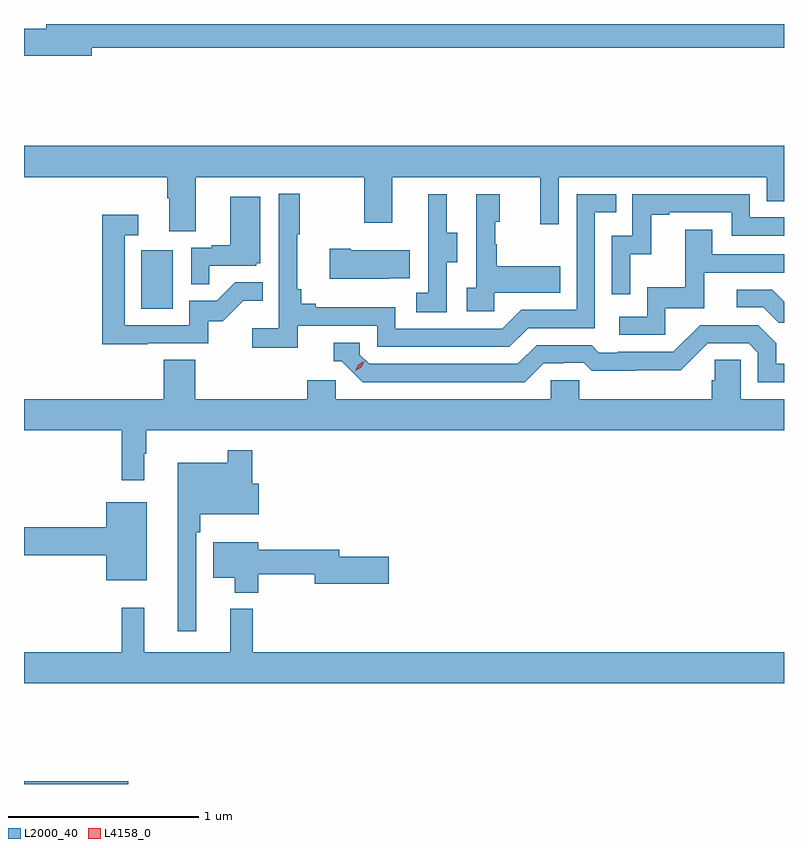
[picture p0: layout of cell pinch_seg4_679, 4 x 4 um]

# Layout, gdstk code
import gdstk
lib = gdstk.Library(unit=1e-6, precision=1e-09)
def R(c, l, rs):  # rectangles x0, y0, x1, y1
    for r in rs: c.add(gdstk.rectangle(r[:2], r[2:], *l))
def P(c, l, *ps):  # polygons
    for p in ps: c.add(gdstk.Polygon(p, *l))
L2000_40 = (2000, 40)
L4158_0 = (4158, 0)

pinch_seg4_679 = lib.new_cell('pinch_seg4_679')
R(pinch_seg4_679, L2000_40, [(1112.864,765.654,1113.412,765.668), (1113.482,768.156,1113.646,768.463)])
P(pinch_seg4_679, L2000_40, [(1113.22,769.528),(1116.864,769.528),(1116.864,769.654),(1112.981,769.654),(1112.981,769.628),(1112.864,769.628),(1112.864,769.486),(1113.22,769.486)],
  [(1113.769,768.848),(1114.654,768.848),(1114.654,768.609),(1114.801,768.609),(1114.801,768.848),(1115.582,768.848),(1115.582,768.6),(1115.679,768.6),(1115.679,768.848),(1116.774,768.848),(1116.774,768.721),(1116.864,768.721),(1116.864,769.012),(1112.864,769.012),(1112.864,768.848),(1113.617,768.848),(1113.617,768.736),(1113.629,768.736),(1113.629,768.562),(1113.769,768.562)],
  [(1114.304,768.066),(1114.722,768.066),(1114.722,767.955),(1115.419,767.955),(1115.518,768.054),(1115.868,768.054),(1115.868,768.663),(1115.981,768.663),(1115.981,768.759),(1115.772,768.759),(1115.772,768.15),(1115.481,768.15),(1115.382,768.051),(1114.818,768.051),(1114.818,768.163),(1114.399,768.163),(1114.399,768.182),(1114.322,768.182),(1114.322,768.259),(1114.303,768.259),(1114.303,768.547),(1114.315,768.547),(1114.315,768.76),(1114.206,768.76),(1114.206,768.052),(1114.065,768.052),(1114.065,767.95),(1114.304,767.95)],
  [(1116.054,768.443),(1116.164,768.443),(1116.164,768.651),(1116.259,768.651),(1116.259,768.663),(1116.588,768.663),(1116.588,768.54),(1116.864,768.54),(1116.864,768.636),(1116.684,768.636),(1116.684,768.759),(1116.066,768.759),(1116.066,768.54),(1115.958,768.54),(1115.958,768.231),(1116.054,768.231)],
  [(1115.34,768.239),(1115.687,768.239),(1115.687,768.379),(1115.353,768.379),(1115.353,768.494),(1115.343,768.494),(1115.343,768.612),(1115.368,768.612),(1115.368,768.757),(1115.244,768.757),(1115.244,768.266),(1115.193,768.266),(1115.193,768.141),(1115.34,768.141)],
  [(1115.088,768.4),(1115.143,768.4),(1115.143,768.555),(1115.089,768.555),(1115.089,768.757),(1114.991,768.757),(1114.991,768.543),(1114.992,768.543),(1114.992,768.239),(1114.929,768.239),(1114.929,768.136),(1115.088,768.136)],
  [(1113.839,768.381),(1114.086,768.381),(1114.086,768.396),(1114.108,768.396),(1114.108,768.745),(1113.95,768.745),(1113.95,768.49),(1113.851,768.49),(1113.851,768.477),(1113.744,768.477),(1113.744,768.283),(1113.839,768.283)],
  [(1113.515,767.973),(1113.834,767.973),(1113.834,768.09),(1113.91,768.09),(1114.017,768.197),(1114.121,768.197),(1114.121,768.296),(1113.977,768.296),(1113.879,768.198),(1113.735,768.198),(1113.735,768.069),(1113.393,768.069),(1113.393,768.543),(1113.466,768.543),(1113.466,768.649),(1113.277,768.649),(1113.277,767.968),(1113.515,767.968)],
  [(1116.24,768.159),(1116.445,768.159),(1116.445,768.345),(1116.864,768.345),(1116.864,768.441),(1116.487,768.441),(1116.487,768.571),(1116.343,768.571),(1116.343,768.268),(1116.144,768.268),(1116.144,768.114),(1115.997,768.114),(1115.997,768.018),(1116.24,768.018)],
  [(1114.787,768.317),(1114.895,768.317),(1114.895,768.463),(1114.585,768.463),(1114.585,768.471),(1114.473,768.471),(1114.473,768.314),(1114.787,768.314)],
  [(1116.864,768.193),(1116.802,768.255),(1116.615,768.255),(1116.615,768.162),(1116.756,768.162),(1116.836,768.082),(1116.864,768.082)],
  [(1115.599,767.868),(1115.706,767.868),(1115.706,767.871),(1115.809,767.871),(1115.851,767.829),(1116.084,767.829),(1116.084,767.831),(1116.32,767.831),(1116.462,767.973),(1116.678,767.973),(1116.726,767.925),(1116.726,767.769),(1116.864,767.769),(1116.864,767.865),(1116.823,767.865),(1116.823,767.975),(1116.729,768.069),(1116.423,768.069),(1116.282,767.928),(1115.989,767.928),(1115.989,767.925),(1115.89,767.925),(1115.851,767.964),(1115.562,767.964),(1115.463,767.865),(1114.68,767.865),(1114.632,767.913),(1114.632,767.976),(1114.493,767.976),(1114.493,767.88),(1114.536,767.88),(1114.647,767.769),(1115.5,767.769)],
  [(1113.496,767.393),(1113.508,767.393),(1113.508,767.516),(1116.864,767.516),(1116.864,767.68),(1116.636,767.68),(1116.636,767.888),(1116.499,767.888),(1116.499,767.778),(1116.485,767.778),(1116.485,767.68),(1115.787,767.68),(1115.787,767.778),(1115.637,767.778),(1115.637,767.68),(1114.506,767.68),(1114.506,767.778),(1114.355,767.778),(1114.355,767.68),(1113.764,767.68),(1113.764,767.888),(1113.599,767.888),(1113.599,767.68),(1112.864,767.68),(1112.864,767.516),(1113.379,767.516),(1113.379,767.253),(1113.496,767.253)],
  [(1113.771,766.979),(1113.791,766.979),(1113.791,767.075),(1114.099,767.075),(1114.099,767.233),(1114.064,767.233),(1114.064,767.41),(1113.936,767.41),(1113.936,767.344),(1113.674,767.344),(1113.674,766.458),(1113.771,766.458)],
  [(1113.511,767.137),(1113.296,767.137),(1113.296,767.006),(1112.864,767.006),(1112.864,766.859),(1113.296,766.859),(1113.296,766.727),(1113.511,766.727)],
  [(1114.096,766.758),(1114.394,766.758),(1114.394,766.708),(1114.783,766.708),(1114.783,766.85),(1114.522,766.85),(1114.522,766.886),(1114.096,766.886),(1114.096,766.927),(1113.86,766.927),(1113.86,766.739),(1113.974,766.739),(1113.974,766.661),(1114.096,766.661)],
  [(1116.864,766.348),(1114.067,766.348),(1114.067,766.576),(1113.95,766.576),(1113.95,766.348),(1113.497,766.348),(1113.497,766.582),(1113.379,766.582),(1113.379,766.348),(1112.864,766.348),(1112.864,766.184),(1116.864,766.184)])
P(pinch_seg4_679, L4158_0, [(1114.607,767.829),(1114.607,767.829),(1114.624,767.861),(1114.655,767.88),(1114.655,767.88),(1114.655,767.879),(1114.638,767.847),(1114.608,767.829)])

lib.write_gds('pinch_seg4_679.gds')
